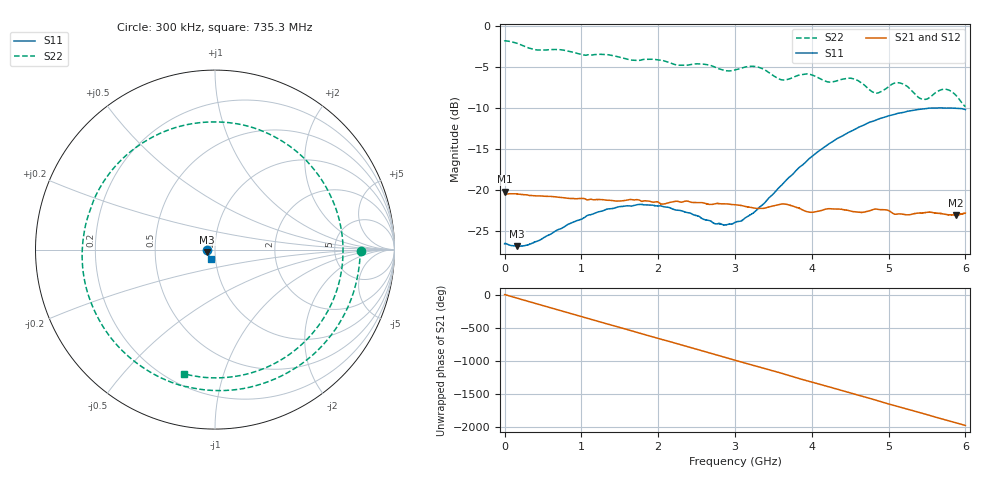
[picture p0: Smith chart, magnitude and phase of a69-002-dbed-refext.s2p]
!  3/18/2021  18:23:16
! Ref Plane: 13.288 mm
# MHZ S MA R  50
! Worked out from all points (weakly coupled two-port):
!   10001 points, 300 kHz to 6 GHz, reference 50 ohm
!   highest |S21| = -20.20 dB at 300 kHz (marker M1); lowest = -23.0 dB at 5.872 GHz (marker M2)
!   lowest |S11| = -26.8 dB at 162.3 MHz (marker M3), VSWR 1.10, Z = 45.8 - j1.22 ohm
!   |S11| at or under -10 dB: start of sweep to end of sweep
!   |S22| runs from -9.9 to -1.8 dB; largest |S21 - S12| = 0.0027
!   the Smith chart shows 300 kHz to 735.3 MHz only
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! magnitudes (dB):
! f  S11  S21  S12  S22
! 300 kHz  -26.5  -20.2  -20.4  -1.8
! 162.3 MHz  -26.8  -20.5  -20.5  -2.2
! 436.5 MHz  -26.2  -20.7  -20.7  -3.0
! 740.1 MHz  -24.7  -20.9  -20.9  -2.9
! 1 GHz  -23.6  -21.0  -21.0  -3.5
! 1.495 GHz  -22.0  -21.3  -21.3  -3.8
! 2.001 GHz  -21.9  -21.5  -21.4  -4.2
! 2.251 GHz  -22.5  -21.4  -21.4  -4.8
! 2.742 GHz  -24.1  -21.7  -21.7  -5.1
! 3 GHz  -23.9  -21.8  -21.8  -5.4
! 3.28 GHz  -22.5  -22.2  -22.2  -5.0
! 3.629 GHz  -19.2  -21.7  -21.7  -6.6
! 4 GHz  -15.9  -22.7  -22.7  -6.0
! 4.221 GHz  -14.4  -22.3  -22.3  -6.9
! 4.541 GHz  -12.7  -22.6  -22.6  -6.5
! 4.829 GHz  -11.5  -22.3  -22.3  -8.2
! 5 GHz  -11.0  -22.5  -22.5  -7.4
! 5.174 GHz  -10.6  -22.9  -22.9  -7.1
! 5.45 GHz  -10.1  -22.8  -22.7  -9.0
! 5.712 GHz  -10.0  -22.9  -22.9  -7.7
! 5.872 GHz  -10.1  -23.0  -23.0  -8.4
! 6 GHz  -10.2  -22.8  -22.7  -9.9
